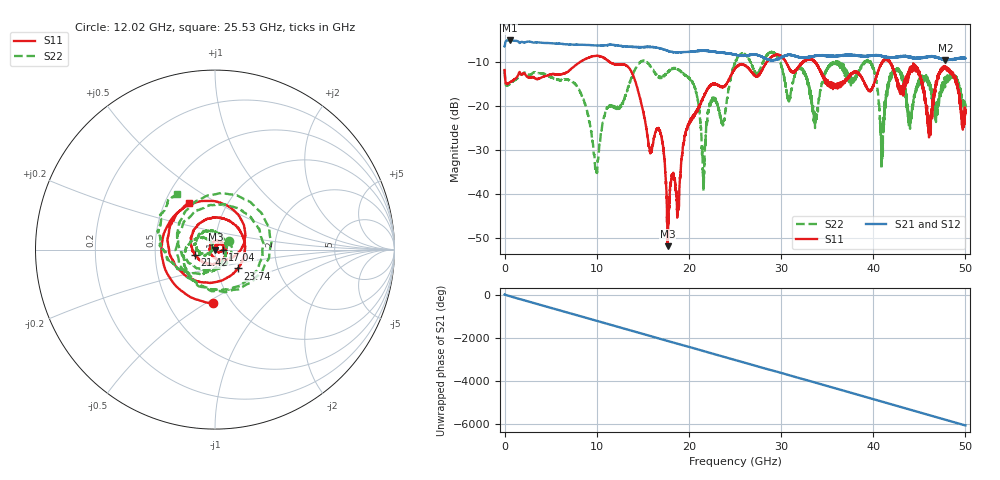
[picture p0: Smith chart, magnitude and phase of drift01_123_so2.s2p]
!Created with skrf (http://scikit-rf.org).
# Hz S RI R 50.0
!freq ReS11 ImS11 ReS21 ImS21 ReS12 ImS12 ReS22 ImS22
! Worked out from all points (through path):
!   10001 points, 300 kHz to 50 GHz, reference 50 ohm
!   highest |S21| = -5.05 dB at 570.3 MHz (marker M1); lowest = -9.6 dB at 47.84 GHz (marker M2)
!   group delay of S21, straight-line fit = 336 ps
!   lowest |S11| = -51.9 dB at 17.69 GHz (marker M3), VSWR 1.01, Z = 50.2 - j0.113 ohm
!   |S11| at or under -10 dB: start of sweep to 8.163 GHz; 11.43 GHz to 28.42 GHz (16.99 GHz wide, 85.3 % of centre); 41.8 GHz to end of sweep (the widest 3 of 10)
!   |S22| runs from -39.4 to -7.6 dB; largest |S21 - S12| = 0.016
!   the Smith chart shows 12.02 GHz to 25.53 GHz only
!   S11 on the Smith chart (normalised r, x): 12.02 GHz: 0.82, -0.54; 17.04 GHz: 1.09, -0.01; 21.42 GHz: 0.80, -0.05; 23.74 GHz: 1.26, -0.27; 25.53 GHz: 0.66, +0.38
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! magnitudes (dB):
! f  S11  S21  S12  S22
! 300 kHz  -11.8  -6.4  -6.5  -11.7
! 570.3 MHz  -14.6  -5.1  -5.1  -14.9
! 8.335 GHz  -9.8  -6.0  -6.0  -17.5
! 9.95 GHz  -8.6  -6.2  -6.2  -35.0
! 12.02 GHz  -10.5  -6.1  -6.1  -20.4
! 16.67 GHz  -25.0  -6.7  -6.8  -13.3
! 17.04 GHz  -27.1  -6.9  -6.9  -13.5
! 17.69 GHz  -51.9  -7.4  -7.4  -12.3
! 20.47 GHz  -22.6  -7.6  -7.5  -15.0
! 21.42 GHz  -18.7  -7.4  -7.4  -29.7
! 22.47 GHz  -15.1  -7.5  -7.6  -19.1
! 23.74 GHz  -15.6  -7.9  -7.9  -23.8
! 25 GHz  -11.4  -8.3  -8.3  -10.3
! 25.53 GHz  -10.5  -8.5  -8.5  -8.5
! 33.34 GHz  -9.4  -8.7  -8.7  -19.1
! 39.49 GHz  -16.4  -8.6  -8.5  -9.9
! 40.95 GHz  -10.2  -8.6  -8.5  -29.6
! 41.67 GHz  -9.6  -8.8  -8.9  -14.5
! 44.76 GHz  -12.0  -9.1  -9.1  -15.4
! 46.1 GHz  -25.6  -8.8  -8.8  -15.2
! 47.84 GHz  -11.3  -9.6  -9.6  -14.6
! 50 GHz  -21.4  -9.1  -9.1  -20.3
